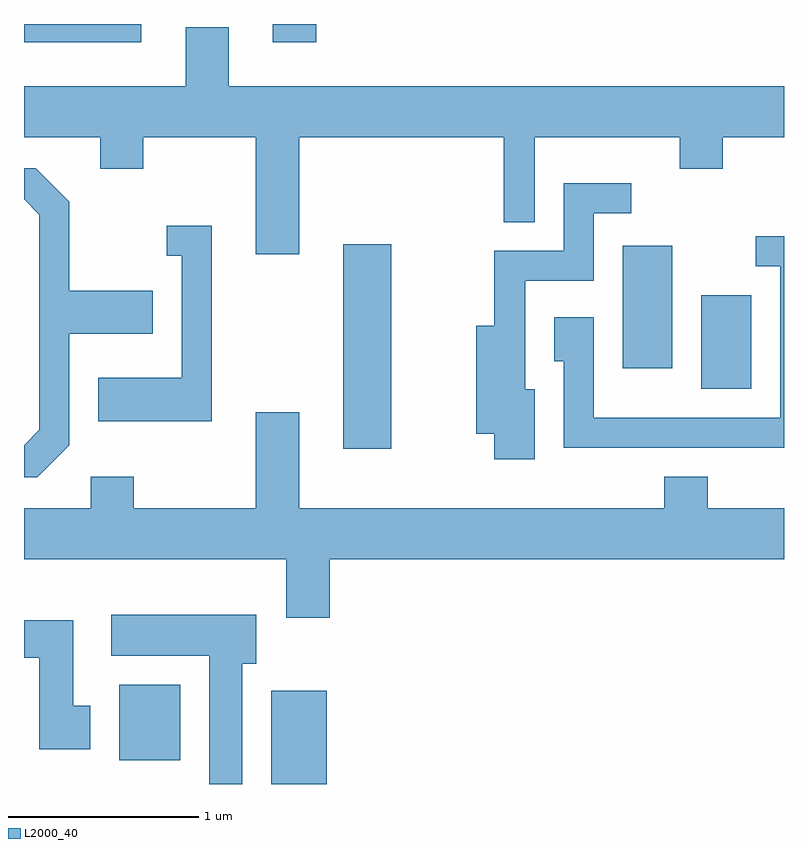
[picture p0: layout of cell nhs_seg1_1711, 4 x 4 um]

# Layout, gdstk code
import gdstk
lib = gdstk.Library(unit=1e-6, precision=1e-09)
def R(c, l, rs):  # rectangles x0, y0, x1, y1
    for r in rs: c.add(gdstk.rectangle(r[:2], r[2:], *l))
def P(c, l, *ps):  # polygons
    for p in ps: c.add(gdstk.Polygon(p, *l))
L2000_40 = (2000, 40)

nhs_seg1_1711 = lib.new_cell('nhs_seg1_1711')
R(nhs_seg1_1711, L2000_40, [(238.911,911.712,239.204,912.204), (238.111,911.836,238.434,912.234), (239.291,913.476,239.544,914.554), (241.176,913.791,241.439,914.284), (240.761,913.901,241.024,914.544), (237.611,915.616,238.229,915.712), (238.921,915.616,239.149,915.712)])
P(nhs_seg1_1711, L2000_40, [(239.059,915.116),(240.136,915.116),(240.136,914.668),(240.299,914.668),(240.299,915.116),(241.061,915.116),(241.061,914.951),(241.289,914.951),(241.289,915.116),(241.611,915.116),(241.611,915.384),(238.689,915.384),(238.689,915.694),(238.461,915.694),(238.461,915.384),(237.611,915.384),(237.611,915.116),(238.011,915.116),(238.011,914.951),(238.239,914.951),(238.239,915.116),(238.831,915.116),(238.831,914.501),(239.059,914.501)],
  [(237.849,913.494),(237.849,914.081),(238.289,914.081),(238.289,914.309),(237.849,914.309),(237.849,914.777),(237.672,914.954),(237.611,914.954),(237.611,914.789),(237.691,914.709),(237.691,913.577),(237.611,913.496),(237.611,913.326),(237.682,913.326)],
  [(240.299,913.789),(240.249,913.789),(240.249,914.361),(240.609,914.361),(240.609,914.716),(240.808,914.716),(240.808,914.874),(240.451,914.874),(240.451,914.519),(240.086,914.519),(240.086,914.124),(239.991,914.124),(239.991,913.556),(240.086,913.556),(240.086,913.421),(240.299,913.421)],
  [(238.599,914.649),(238.363,914.649),(238.363,914.491),(238.441,914.491),(238.441,913.849),(238.001,913.849),(238.001,913.621),(238.599,913.621)],
  [(241.611,914.594),(241.463,914.594),(241.463,914.436),(241.591,914.436),(241.591,913.639),(240.609,913.639),(240.609,914.169),(240.401,914.169),(240.401,913.936),(240.451,913.936),(240.451,913.481),(241.611,913.481)],
  [(239.219,912.896),(241.611,912.896),(241.611,913.164),(241.209,913.164),(241.209,913.329),(240.981,913.329),(240.981,913.164),(239.059,913.164),(239.059,913.669),(238.831,913.669),(238.831,913.164),(238.189,913.164),(238.189,913.329),(237.961,913.329),(237.961,913.164),(237.611,913.164),(237.611,912.896),(238.991,912.896),(238.991,912.586),(239.219,912.586)],
  [(238.759,912.346),(238.834,912.346),(238.834,912.604),(238.071,912.604),(238.071,912.386),(238.586,912.386),(238.586,911.712),(238.759,911.712)],
  [(237.959,912.124),(237.869,912.124),(237.869,912.574),(237.611,912.574),(237.611,912.376),(237.691,912.376),(237.691,911.896),(237.959,911.896)])

lib.write_gds('nhs_seg1_1711.gds')
